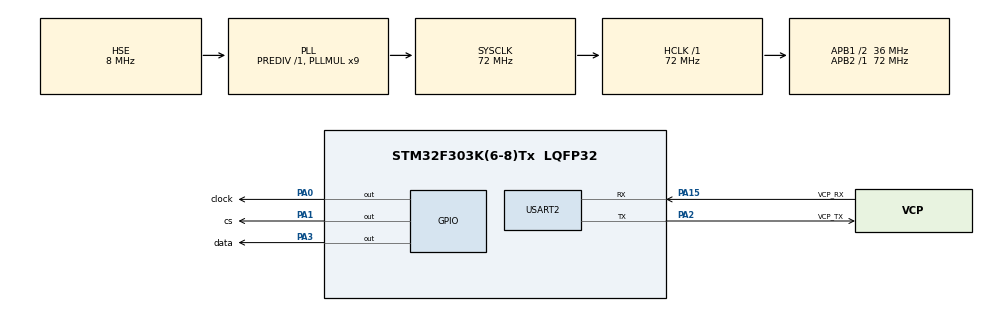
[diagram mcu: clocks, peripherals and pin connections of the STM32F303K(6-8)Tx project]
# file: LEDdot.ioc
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Mcu.Family=STM32F3
Mcu.Name=STM32F303K(6-8)Tx
Mcu.Package=LQFP32
NVIC.PriorityGroup=NVIC_PRIORITYGROUP_4
PA0.GPIO_Label=clock
PA0.Signal=GPIO_Output
PA1.GPIO_Label=cs
PA1.Signal=GPIO_Output
PA13.GPIO_Label=SWDIO
PA13.Mode=Serial_Wire
PA13.Signal=SYS_JTMS-SWDIO
PA14.GPIO_Label=SWCLK
PA14.Mode=Serial_Wire
PA14.Signal=SYS_JTCK-SWCLK
PA15.GPIO_Label=VCP_RX
PA15.Mode=Asynchronous
PA15.Signal=USART2_RX
PA2.GPIO_Label=VCP_TX
PA2.Mode=Asynchronous
PA2.Signal=USART2_TX
PA3.GPIO_Label=data
PA3.Signal=GPIO_Output
PF0\ /\ OSC_IN.GPIO_Label=MCO
PF0\ /\ OSC_IN.Mode=HSE-External-Oscillator
PF0\ /\ OSC_IN.Signal=RCC_OSC_IN
PF1\ /\ OSC_OUT.Mode=HSE-External-Oscillator
PF1\ /\ OSC_OUT.Signal=RCC_OSC_OUT
ProjectManager.HeapSize=0x200
ProjectManager.StackSize=0x400
ProjectManager.TargetToolchain=STM32CubeIDE
RCC.AHBFreq_Value=72000000
RCC.APB1CLKDivider=RCC_HCLK_DIV2
RCC.APB1Freq_Value=36000000
RCC.APB1TimFreq_Value=72000000
RCC.APB2Freq_Value=72000000
RCC.APB2TimFreq_Value=72000000
RCC.CortexFreq_Value=72000000
RCC.HCLKFreq_Value=72000000
RCC.HSE_VALUE=8000000
RCC.HSI_VALUE=8000000
RCC.PLLMUL=RCC_PLL_MUL9
RCC.PLLSourceVirtual=RCC_PLLSOURCE_HSE
RCC.SYSCLKFreq_VALUE=72000000
RCC.SYSCLKSourceVirtual=RCC_SYSCLKSOURCE_PLLCLK
USART2.VirtualMode-Asynchronous=VM_ASYNC
board=NUCLEO-F303K8

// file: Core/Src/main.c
/* USER CODE BEGIN Header */
/**
  ******************************************************************************
  * @file           : main.c
  * @brief          : Main program body
  ******************************************************************************
  ** This notice applies to any and all portions of this file
  * that are not between comment pairs USER CODE BEGIN and
  * USER CODE END. Other portions of this file, whether
  * inserted by the user or by software development tools
  * are owned by their respective copyright owners.
  *
  * COPYRIGHT(c) 2019 STMicroelectronics
  *
  * Redistribution and use in source and binary forms, with or without modification,
  * are permitted provided that the following conditions are met:
  *   1. Redistributions of source code must retain the above copyright notice,
  *      this list of conditions and the following disclaimer.
  *   2. Redistributions in binary form must reproduce the above copyright notice,
  *      this list of conditions and the following disclaimer in the documentation
  *      and/or other materials provided with the distribution.
  *   3. Neither the name of STMicroelectronics nor the names of its contributors
  *      may be used to endorse or promote products derived from this software
  *      without specific prior written permission.
  *
  * THIS SOFTWARE IS PROVIDED BY THE COPYRIGHT HOLDERS AND CONTRIBUTORS "AS IS"
  * AND ANY EXPRESS OR IMPLIED WARRANTIES, INCLUDING, BUT NOT LIMITED TO, THE
  * IMPLIED WARRANTIES OF MERCHANTABILITY AND FITNESS FOR A PARTICULAR PURPOSE ARE
  * DISCLAIMED. IN NO EVENT SHALL THE COPYRIGHT HOLDER OR CONTRIBUTORS BE LIABLE
  * FOR ANY DIRECT, INDIRECT, INCIDENTAL, SPECIAL, EXEMPLARY, OR CONSEQUENTIAL
  * DAMAGES (INCLUDING, BUT NOT LIMITED TO, PROCUREMENT OF SUBSTITUTE GOODS OR
  * SERVICES; LOSS OF USE, DATA, OR PROFITS; OR BUSINESS INTERRUPTION) HOWEVER
  * CAUSED AND ON ANY THEORY OF LIABILITY, WHETHER IN CONTRACT, STRICT LIABILITY,
  * OR TORT (INCLUDING NEGLIGENCE OR OTHERWISE) ARISING IN ANY WAY OUT OF THE USE
  * OF THIS SOFTWARE, EVEN IF ADVISED OF THE POSSIBILITY OF SUCH DAMAGE.
  *
  ******************************************************************************
  */
/* USER CODE END Header */
#include "main.h"

UART_HandleTypeDef huart2;

void SystemClock_Config(void);
static void MX_GPIO_Init(void);
static void MX_USART2_UART_Init(void);

/* USER CODE BEGIN 0 */

uint8_t disp1ay[38][8]={
{0x3C,0x42,0x42,0x42,0x42,0x42,0x42,0x3C},//0
{0x10,0x30,0x50,0x10,0x10,0x10,0x10,0x7c},//1
{0x7E,0x2,0x2,0x7E,0x40,0x40,0x40,0x7E},//2
{0x3E,0x2,0x2,0x3E,0x2,0x2,0x3E,0x0},//3
{0x8,0x18,0x28,0x48,0xFE,0x8,0x8,0x8},//4
{0x3C,0x20,0x20,0x3C,0x4,0x4,0x3C,0x0},//5
{0x3C,0x20,0x20,0x3C,0x24,0x24,0x3C,0x0},//6
{0x3E,0x22,0x4,0x8,0x8,0x8,0x8,0x8},//7
{0x0,0x3E,0x22,0x22,0x3E,0x22,0x22,0x3E},//8
{0x3E,0x22,0x22,0x3E,0x2,0x2,0x2,0x3E},//9
{0x18,0x24,0x42,0x42,0x7E,0x42,0x42,0x42},//A
{0x3C,0x22,0x22,0x3c,0x22,0x22,0x3C,0x0},//B
{0x3C,0x40,0x40,0x40,0x40,0x40,0x40,0x3C},//C
{0x7C,0x22,0x22,0x22,0x22,0x22,0x22,0x7C},//D
{0x7C,0x40,0x40,0x7C,0x40,0x40,0x40,0x7C},//E
{0x7C,0x40,0x40,0x7C,0x40,0x40,0x40,0x40},//F
{0x3C,0x40,0x40,0x40,0x4c,0x44,0x44,0x3C},//G
{0x44,0x44,0x44,0x7C,0x44,0x44,0x44,0x44},//H
{0x7C,0x10,0x10,0x10,0x10,0x10,0x10,0x7C},//I
{0x3C,0x8,0x8,0x8,0x8,0x8,0x48,0x30},//J
{0x0,0x24,0x28,0x30,0x20,0x30,0x28,0x24},//K
{0x40,0x40,0x40,0x40,0x40,0x40,0x40,0x7C},//L
{0x81,0xC3,0xA5,0x99,0x81,0x81,0x81,0x81},//M
{0x0,0x42,0x62,0x52,0x4A,0x46,0x42,0x0},//N
{0x3C,0x42,0x42,0x42,0x42,0x42,0x42,0x3C},//O
{0x3C,0x22,0x22,0x22,0x3C,0x20,0x20,0x20},//P
{0x1C,0x22,0x22,0x22,0x22,0x26,0x22,0x1D},//Q
{0x3C,0x22,0x22,0x22,0x3C,0x24,0x22,0x21},//R
{0x0,0x1E,0x20,0x20,0x3E,0x2,0x2,0x3C},//S
{0x0,0x3E,0x8,0x8,0x8,0x8,0x8,0x8},//T
{0x42,0x42,0x42,0x42,0x42,0x42,0x22,0x1C},//U
{0x42,0x42,0x42,0x42,0x42,0x42,0x24,0x18},//V
{0x0,0x49,0x49,0x49,0x49,0x2A,0x1C,0x0},//W
{0x0,0x41,0x22,0x14,0x8,0x14,0x22,0x41},//X
{0x41,0x22,0x14,0x8,0x8,0x8,0x8,0x8},//Y
{0x0,0x7F,0x2,0x4,0x8,0x10,0x20,0x7F},//Z
};

void write_byte (uint8_t byte)
{
	for (int i =0; i<8; i++)
	{
		HAL_GPIO_WritePin (GPIOA, GPIO_PIN_5, 0);  // pull the clock pin low
		HAL_GPIO_WritePin (GPIOA, GPIO_PIN_7, byte&0x80);  // write the MSB bit to the data pin
		byte = byte<<1;  // shift left
		HAL_GPIO_WritePin (GPIOA, GPIO_PIN_5, 1);  // pull the clock pin HIGH
	}
}

void write_max (uint8_t address, uint8_t data)
{
	HAL_GPIO_WritePin (GPIOA, GPIO_PIN_6, 0);  // pull the CS pin LOW
	write_byte (address);
	write_byte (data);
	HAL_GPIO_WritePin (GPIOA, GPIO_PIN_6, 1);  // pull the CS pin HIGH
}

// function for init

void max_init(void)
{
 write_max(0x09, 0x00);       //  no decoding
 write_max(0x0a, 0x03);       //  brightness intensity
 write_max(0x0b, 0x07);       //  scan limit = 8 LEDs
 write_max(0x0c, 0x01);       //  power down =0,normal mode = 1
 write_max(0x0f, 0x00);       //  no test display
}

void write_string (char *str)
{
	while (*str)
	{
		for(int i=1;i<9;i++)
			   {
			       write_max (i,disp1ay[(*str - 55)][i-1]);
			   }
		*str++;
		HAL_Delay (500);
	}
}

/* USER CODE END 0 */

int main(void)
{

  /* MCU Configuration--------------------------------------------------------*/

  /* Reset of all peripherals, Initializes the Flash interface and the Systick. */
  HAL_Init();

  /* Configure the system clock */
  SystemClock_Config();

  /* Initialize all configured peripherals */
  MX_GPIO_Init();
  MX_USART2_UART_Init();
  /* USER CODE BEGIN 2 */
	max_init ();
  /* USER CODE END 2 */

  /* Infinite loop */
  while (1)
  {

    /* USER CODE BEGIN 3 */

		for (int j=0; j<38; j++)
		{
			for (int i=1; i<9; i++)
			{
				write_max (i , disp1ay[j][i-1]);
			}
			HAL_Delay (700);
		}

		//write_string ("STM32");
		//HAL_Delay (1000);
  }
  /* USER CODE END 3 */
}

void SystemClock_Config(void)
{
  RCC_OscInitTypeDef RCC_OscInitStruct = {0};
  RCC_ClkInitTypeDef RCC_ClkInitStruct = {0};

  /** Initializes the RCC Oscillators according to the specified parameters
  * in the RCC_OscInitTypeDef structure.
  */
  RCC_OscInitStruct.OscillatorType = RCC_OSCILLATORTYPE_HSE;
  RCC_OscInitStruct.HSEState = RCC_HSE_ON;
  RCC_OscInitStruct.HSEPredivValue = RCC_HSE_PREDIV_DIV1;
  RCC_OscInitStruct.HSIState = RCC_HSI_ON;
  RCC_OscInitStruct.PLL.PLLState = RCC_PLL_ON;
  RCC_OscInitStruct.PLL.PLLSource = RCC_PLLSOURCE_HSE;
  RCC_OscInitStruct.PLL.PLLMUL = RCC_PLL_MUL9;
  if (HAL_RCC_OscConfig(&RCC_OscInitStruct) != HAL_OK)
  {
    Error_Handler();
  }
  /** Initializes the CPU, AHB and APB buses clocks
  */
  RCC_ClkInitStruct.ClockType = RCC_CLOCKTYPE_HCLK|RCC_CLOCKTYPE_SYSCLK
                              |RCC_CLOCKTYPE_PCLK1|RCC_CLOCKTYPE_PCLK2;
  RCC_ClkInitStruct.SYSCLKSource = RCC_SYSCLKSOURCE_PLLCLK;
  RCC_ClkInitStruct.AHBCLKDivider = RCC_SYSCLK_DIV1;
  RCC_ClkInitStruct.APB1CLKDivider = RCC_HCLK_DIV2;
  RCC_ClkInitStruct.APB2CLKDivider = RCC_HCLK_DIV1;

  if (HAL_RCC_ClockConfig(&RCC_ClkInitStruct, FLASH_LATENCY_2) != HAL_OK)
  {
    Error_Handler();
  }
}

static void MX_USART2_UART_Init(void)
{

  huart2.Instance = USART2;
  huart2.Init.BaudRate = 38400;
  huart2.Init.WordLength = UART_WORDLENGTH_8B;
  huart2.Init.StopBits = UART_STOPBITS_1;
  huart2.Init.Parity = UART_PARITY_NONE;
  huart2.Init.Mode = UART_MODE_TX_RX;
  huart2.Init.HwFlowCtl = UART_HWCONTROL_NONE;
  huart2.Init.OverSampling = UART_OVERSAMPLING_16;
  huart2.Init.OneBitSampling = UART_ONE_BIT_SAMPLE_DISABLE;
  huart2.AdvancedInit.AdvFeatureInit = UART_ADVFEATURE_NO_INIT;
  if (HAL_UART_Init(&huart2) != HAL_OK)
  {
    Error_Handler();
  }

}

static void MX_GPIO_Init(void)
{
  GPIO_InitTypeDef GPIO_InitStruct = {0};

  /* GPIO Ports Clock Enable */
  __HAL_RCC_GPIOF_CLK_ENABLE();
  __HAL_RCC_GPIOA_CLK_ENABLE();

  /*Configure GPIO pin Output Level */
  HAL_GPIO_WritePin(GPIOA, clock_Pin|cs_Pin|data_Pin, GPIO_PIN_RESET);

  /*Configure GPIO pins : clock_Pin cs_Pin data_Pin */
  GPIO_InitStruct.Pin = clock_Pin|cs_Pin|data_Pin;
  GPIO_InitStruct.Mode = GPIO_MODE_OUTPUT_PP;
  GPIO_InitStruct.Pull = GPIO_NOPULL;
  GPIO_InitStruct.Speed = GPIO_SPEED_FREQ_LOW;
  HAL_GPIO_Init(GPIOA, &GPIO_InitStruct);

}

void Error_Handler(void)
{
}

/************************ (C) COPYRIGHT STMicroelectronics *****END OF FILE****/
